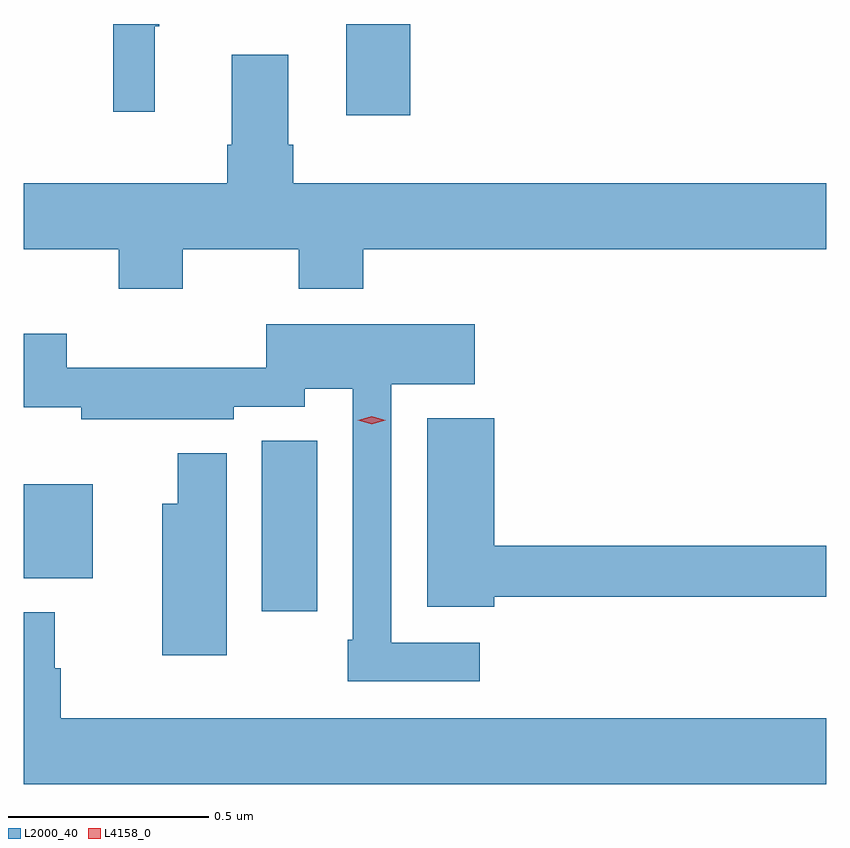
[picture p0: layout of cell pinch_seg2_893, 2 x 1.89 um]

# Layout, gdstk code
import gdstk
lib = gdstk.Library(unit=1e-6, precision=1e-09)
def R(c, l, rs):  # rectangles x0, y0, x1, y1
    for r in rs: c.add(gdstk.rectangle(r[:2], r[2:], *l))
def P(c, l, *ps):  # polygons
    for p in ps: c.add(gdstk.Polygon(p, *l))
L2000_40 = (2000, 40)
L4158_0 = (4158, 0)

pinch_seg2_893 = lib.new_cell('pinch_seg2_893')
R(pinch_seg2_893, L2000_40, [(583.154,605.442,583.291,605.867), (582.56,605.525,582.733,605.758), (583.364,606.678,583.523,606.905)])
P(pinch_seg2_893, L2000_40, [(582.887,606.899),(582.898,606.899),(582.898,606.905),(582.784,606.905),(582.784,606.687),(582.887,606.687)],
  [(582.957,606.344),(583.246,606.344),(583.246,606.245),(583.406,606.245),(583.406,606.344),(584.56,606.344),(584.56,606.508),(583.232,606.508),(583.232,606.604),(583.219,606.604),(583.219,606.829),(583.079,606.829),(583.079,606.604),(583.067,606.604),(583.067,606.508),(582.56,606.508),(582.56,606.344),(582.797,606.344),(582.797,606.245),(582.957,606.245)],
  [(583.696,605.364),(583.476,605.364),(583.476,606.008),(583.684,606.008),(583.684,606.157),(583.164,606.157),(583.164,606.049),(582.668,606.049),(582.668,606.133),(582.56,606.133),(582.56,605.951),(582.704,605.951),(582.704,605.921),(583.084,605.921),(583.084,605.952),(583.26,605.952),(583.26,605.996),(583.38,605.996),(583.38,605.371),(583.368,605.371),(583.368,605.268),(583.696,605.268)],
  [(583.732,605.478),(584.56,605.478),(584.56,605.606),(583.732,605.606),(583.732,605.923),(583.565,605.923),(583.565,605.453),(583.732,605.453)],
  [(583.066,605.836),(582.944,605.836),(582.944,605.71),(582.905,605.71),(582.905,605.333),(583.066,605.333)],
  [(584.56,605.176),(582.653,605.176),(582.653,605.3),(582.638,605.3),(582.638,605.44),(582.56,605.44),(582.56,605.012),(584.56,605.012)])
P(pinch_seg2_893, L4158_0, [(583.427,605.908),(583.392,605.918),(583.392,605.918),(583.392,605.918),(583.427,605.928),(583.462,605.918),(583.462,605.918),(583.462,605.918)])

lib.write_gds('pinch_seg2_893.gds')
